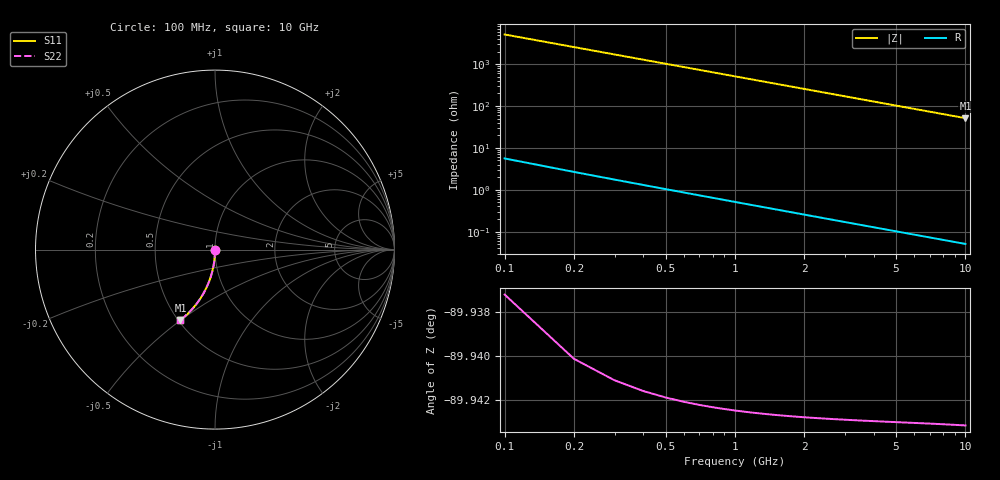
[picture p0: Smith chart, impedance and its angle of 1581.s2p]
# Hz S RI R 50.00
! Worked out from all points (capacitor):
!   100 points, 100 MHz to 10 GHz, reference 50 ohm
!   read as one part in shunt: C = 312 fF near 100 MHz
!   lowest |Z| = 51.3 ohm at 10 GHz (marker M1)
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1e8  -2.02e-05 -0.00488  1 -0.00491  1 -0.00491  -2.02e-05 -0.00488
2e8  -9.7e-05 -0.00976  0.9999 -0.00982  0.9999 -0.00982  -9.7e-05 -0.00976
3e8  -0.000222 -0.0146  0.9998 -0.0147  0.9998 -0.0147  -0.000222 -0.0146
4e8  -0.000394 -0.0195  0.9996 -0.0196  0.9996 -0.0196  -0.000394 -0.0195
5e8  -0.000614 -0.0244  0.9994 -0.0245  0.9994 -0.0245  -0.000614 -0.0244
6e8  -0.000883 -0.0293  0.9991 -0.0294  0.9991 -0.0294  -0.000883 -0.0293
7e8  -0.0012 -0.0341  0.9988 -0.0343  0.9988 -0.0343  -0.0012 -0.0341
8e8  -0.00156 -0.039  0.9984 -0.0392  0.9984 -0.0392  -0.00156 -0.039
9e8  -0.00197 -0.0438  0.998 -0.0441  0.998 -0.0441  -0.00197 -0.0438
1.1e9  -0.00294 -0.0535  0.997 -0.0538  0.997 -0.0538  -0.00294 -0.0535
1.4e9  -0.00473 -0.068  0.9952 -0.0684  0.9952 -0.0684  -0.00473 -0.068
1.8e9  -0.00778 -0.0872  0.9922 -0.0877  0.9922 -0.0877  -0.00778 -0.0872
2.1e9  -0.0105 -0.1014  0.9894 -0.102  0.9894 -0.102  -0.0105 -0.1014
2.5e9  -0.0149 -0.1202  0.9851 -0.1209  0.9851 -0.1209  -0.0149 -0.1202
2.9e9  -0.0199 -0.1386  0.9801 -0.1395  0.9801 -0.1395  -0.0199 -0.1386
3.4e9  -0.0271 -0.1613  0.9729 -0.1623  0.9729 -0.1623  -0.0271 -0.1613
4.2e9  -0.0406 -0.1964  0.9593 -0.1976  0.9593 -0.1976  -0.0406 -0.1964
5.1e9  -0.0587 -0.2339  0.9413 -0.2353  0.9413 -0.2353  -0.0587 -0.2339
5.9e9  -0.0769 -0.2652  0.923 -0.2669  0.923 -0.2669  -0.0769 -0.2652
6.7e9  -0.097 -0.2945  0.903 -0.2964  0.903 -0.2964  -0.097 -0.2945
8.4e9  -0.1441 -0.3495  0.8559 -0.3519  0.8559 -0.3519  -0.1441 -0.3495
1e10  -0.1923 -0.3922  0.8077 -0.395  0.8077 -0.395  -0.1923 -0.3922
